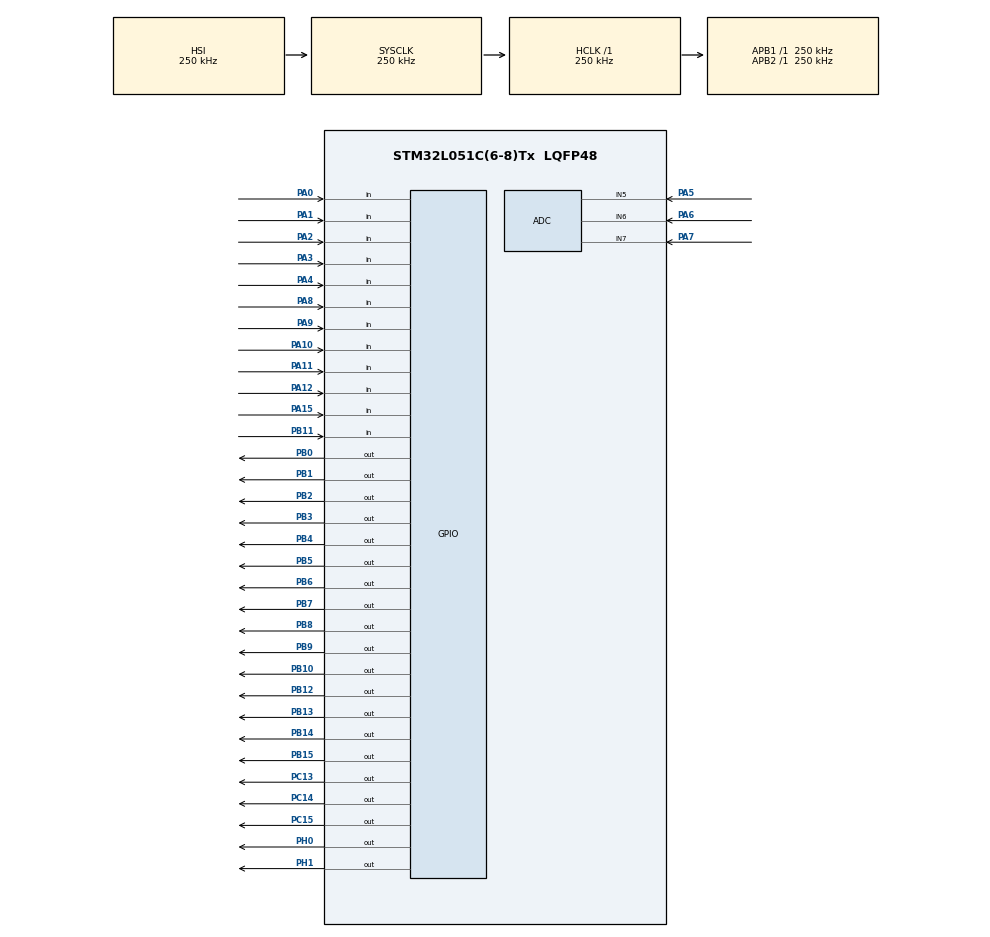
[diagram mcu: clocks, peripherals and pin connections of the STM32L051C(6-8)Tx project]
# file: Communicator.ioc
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Mcu.Family=STM32L0
Mcu.Name=STM32L051C(6-8)Tx
Mcu.Package=LQFP48
PA0.Signal=GPIO_Input
PA1.Signal=GPIO_Input
PA10.Signal=GPIO_Input
PA11.Signal=GPIO_Input
PA12.Signal=GPIO_Input
PA13.Mode=Serial_Wire
PA13.Signal=SYS_SWDIO
PA14.Mode=Serial_Wire
PA14.Signal=SYS_SWCLK
PA15.Signal=GPIO_Input
PA2.Signal=GPIO_Input
PA3.Signal=GPIO_Input
PA4.Signal=GPIO_Input
PA5.Mode=IN5
PA5.Signal=ADC_IN5
PA6.Mode=IN6
PA6.Signal=ADC_IN6
PA7.Mode=IN7
PA7.Signal=ADC_IN7
PA8.Signal=GPIO_Input
PA9.Signal=GPIO_Input
PB0.Signal=GPIO_Output
PB1.Signal=GPIO_Output
PB10.Signal=GPIO_Output
PB11.Signal=GPIO_Input
PB12.Signal=GPIO_Output
PB13.Signal=GPIO_Output
PB14.Signal=GPIO_Output
PB15.Signal=GPIO_Output
PB2.Signal=GPIO_Output
PB3.Signal=GPIO_Output
PB4.Signal=GPIO_Output
PB5.Signal=GPIO_Output
PB6.Signal=GPIO_Output
PB7.Signal=GPIO_Output
PB8.Signal=GPIO_Output
PB9.Signal=GPIO_Output
PC13.Signal=GPIO_Output
PC14-OSC32_IN.Signal=GPIO_Output
PC15-OSC32_OUT.Signal=GPIO_Output
PH0-OSC_IN.Signal=GPIO_Output
PH1-OSC_OUT.Signal=GPIO_Output
ProjectManager.HeapSize=0x200
ProjectManager.StackSize=0x400
ProjectManager.TargetToolchain=MDK-ARM V5
RCC.ADCFreq_Value=250000
RCC.AHBFreq_Value=250000
RCC.APB1Freq_Value=250000
RCC.APB1TimFreq_Value=250000
RCC.APB2Freq_Value=250000
RCC.APB2TimFreq_Value=250000
RCC.HCLKFreq_Value=250000
RCC.HSE_VALUE=8000000
RCC.HSI16_VALUE=1000000
RCC.HSIRCDiv=4
RCC.HSI_VALUE=250000
RCC.LSE_VALUE=32768
RCC.MSI_VALUE=2097000
RCC.PLLDIV=RCC_PLLDIV_3
RCC.SYSCLKFreq_VALUE=250000
RCC.SYSCLKSource=RCC_SYSCLKSOURCE_HSI
RCC.VCOOutputFreq_Value=750000
VP_TIM6_VS_ClockSourceINT.Mode=Enable_Timer
board=Communicator

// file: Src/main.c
/**
  ******************************************************************************
  * File Name          : main.c
  * Description        : Main program body
  ******************************************************************************
  *
  * COPYRIGHT(c) 2016 STMicroelectronics
  *
  * Redistribution and use in source and binary forms, with or without modification,
  * are permitted provided that the following conditions are met:
  *   1. Redistributions of source code must retain the above copyright notice,
  *      this list of conditions and the following disclaimer.
  *   2. Redistributions in binary form must reproduce the above copyright notice,
  *      this list of conditions and the following disclaimer in the documentation
  *      and/or other materials provided with the distribution.
  *   3. Neither the name of STMicroelectronics nor the names of its contributors
  *      may be used to endorse or promote products derived from this software
  *      without specific prior written permission.
  *
  * THIS SOFTWARE IS PROVIDED BY THE COPYRIGHT HOLDERS AND CONTRIBUTORS "AS IS"
  * AND ANY EXPRESS OR IMPLIED WARRANTIES, INCLUDING, BUT NOT LIMITED TO, THE
  * IMPLIED WARRANTIES OF MERCHANTABILITY AND FITNESS FOR A PARTICULAR PURPOSE ARE
  * DISCLAIMED. IN NO EVENT SHALL THE COPYRIGHT HOLDER OR CONTRIBUTORS BE LIABLE
  * FOR ANY DIRECT, INDIRECT, INCIDENTAL, SPECIAL, EXEMPLARY, OR CONSEQUENTIAL
  * DAMAGES (INCLUDING, BUT NOT LIMITED TO, PROCUREMENT OF SUBSTITUTE GOODS OR
  * SERVICES; LOSS OF USE, DATA, OR PROFITS; OR BUSINESS INTERRUPTION) HOWEVER
  * CAUSED AND ON ANY THEORY OF LIABILITY, WHETHER IN CONTRACT, STRICT LIABILITY,
  * OR TORT (INCLUDING NEGLIGENCE OR OTHERWISE) ARISING IN ANY WAY OUT OF THE USE
  * OF THIS SOFTWARE, EVEN IF ADVISED OF THE POSSIBILITY OF SUCH DAMAGE.
  *
  ******************************************************************************
  */
#include "stm32l0xx_hal.h"

/* USER CODE BEGIN Includes */
 void ConfigureLPTIMxInCounterMode(void);
 void ConfigureLowPowerMode(void);
/* USER CODE END Includes */

ADC_HandleTypeDef hadc;

TIM_HandleTypeDef htim6;

/* USER CODE BEGIN PV */
/* Private variables ---------------------------------------------------------*/

/* USER CODE END PV */

void SystemClock_Config(void);
void Error_Handler(void);
static void MX_GPIO_Init(void);
static void MX_ADC_Init(void);
static void MX_TIM6_Init(void);

/* USER CODE BEGIN PFP */
/* Private function prototypes -----------------------------------------------*/

/* USER CODE END PFP */

int main(void)
{

  /* MCU Configuration----------------------------------------------------------*/

  /* Reset of all peripherals, Initializes the Flash interface and the Systick. */
  HAL_Init();

  /* Configure the system clock */
  SystemClock_Config();

  /* Initialize all configured peripherals */
  MX_GPIO_Init();
  MX_ADC_Init();
  MX_TIM6_Init();

  /* USER CODE BEGIN 2 */
  SysTick->CTRL = 0; /* Disable SysTick */
//  error = 0;
  ConfigureLPTIMxInCounterMode();
  ConfigureLowPowerMode();
  __WFI();
  LPTIM1->ARR = 9; /* Reload ARR to get an interrupt each 10 pulses */

  /* USER CODE END 2 */

  /* Infinite loop */
  /* USER CODE BEGIN WHILE */
  while (1) /* Infinite loop */
  {
  /* USER CODE END WHILE */

  /* USER CODE BEGIN 3 */
      __WFI();
  }

  /* USER CODE END 3 */

}

/** System Clock Configuration
*/
void SystemClock_Config(void)
{

  RCC_OscInitTypeDef RCC_OscInitStruct;
  RCC_ClkInitTypeDef RCC_ClkInitStruct;

  __HAL_RCC_PWR_CLK_ENABLE();

  __HAL_PWR_VOLTAGESCALING_CONFIG(PWR_REGULATOR_VOLTAGE_SCALE1);

  RCC_OscInitStruct.OscillatorType = RCC_OSCILLATORTYPE_HSI;
  RCC_OscInitStruct.HSIState = RCC_HSI_DIV4;
  RCC_OscInitStruct.HSICalibrationValue = 16;
  RCC_OscInitStruct.PLL.PLLState = RCC_PLL_NONE;
  if (HAL_RCC_OscConfig(&RCC_OscInitStruct) != HAL_OK)
  {
    Error_Handler();
  }

  RCC_ClkInitStruct.ClockType = RCC_CLOCKTYPE_HCLK|RCC_CLOCKTYPE_SYSCLK
                              |RCC_CLOCKTYPE_PCLK1|RCC_CLOCKTYPE_PCLK2;
  RCC_ClkInitStruct.SYSCLKSource = RCC_SYSCLKSOURCE_HSI;
  RCC_ClkInitStruct.AHBCLKDivider = RCC_SYSCLK_DIV1;
  RCC_ClkInitStruct.APB1CLKDivider = RCC_HCLK_DIV1;
  RCC_ClkInitStruct.APB2CLKDivider = RCC_HCLK_DIV1;
  if (HAL_RCC_ClockConfig(&RCC_ClkInitStruct, FLASH_LATENCY_0) != HAL_OK)
  {
    Error_Handler();
  }

  HAL_SYSTICK_Config(HAL_RCC_GetHCLKFreq()/1000);

  HAL_SYSTICK_CLKSourceConfig(SYSTICK_CLKSOURCE_HCLK);

  /* SysTick_IRQn interrupt configuration */
  HAL_NVIC_SetPriority(SysTick_IRQn, 0, 0);
}

/* ADC init function */
static void MX_ADC_Init(void)
{

  ADC_ChannelConfTypeDef sConfig;

    /**Configure the global features of the ADC (Clock, Resolution, Data Alignment and number of conversion)
    */
  hadc.Instance = ADC1;
  hadc.Init.OversamplingMode = DISABLE;
  hadc.Init.ClockPrescaler = ADC_CLOCK_SYNC_PCLK_DIV1;
  hadc.Init.Resolution = ADC_RESOLUTION_12B;
  hadc.Init.SamplingTime = ADC_SAMPLETIME_1CYCLE_5;
  hadc.Init.ScanConvMode = ADC_SCAN_DIRECTION_FORWARD;
  hadc.Init.DataAlign = ADC_DATAALIGN_RIGHT;
  hadc.Init.ContinuousConvMode = DISABLE;
  hadc.Init.DiscontinuousConvMode = DISABLE;
  hadc.Init.ExternalTrigConvEdge = ADC_EXTERNALTRIGCONVEDGE_NONE;
  hadc.Init.DMAContinuousRequests = DISABLE;
  hadc.Init.EOCSelection = ADC_EOC_SINGLE_CONV;
  hadc.Init.Overrun = ADC_OVR_DATA_PRESERVED;
  hadc.Init.LowPowerAutoWait = DISABLE;
  hadc.Init.LowPowerFrequencyMode = DISABLE;
  hadc.Init.LowPowerAutoPowerOff = DISABLE;
  if (HAL_ADC_Init(&hadc) != HAL_OK)
  {
    Error_Handler();
  }

    /**Configure for the selected ADC regular channel to be converted.
    */
  sConfig.Channel = ADC_CHANNEL_5;
  sConfig.Rank = ADC_RANK_CHANNEL_NUMBER;
  if (HAL_ADC_ConfigChannel(&hadc, &sConfig) != HAL_OK)
  {
    Error_Handler();
  }

    /**Configure for the selected ADC regular channel to be converted.
    */
  sConfig.Channel = ADC_CHANNEL_6;
  if (HAL_ADC_ConfigChannel(&hadc, &sConfig) != HAL_OK)
  {
    Error_Handler();
  }

    /**Configure for the selected ADC regular channel to be converted.
    */
  sConfig.Channel = ADC_CHANNEL_7;
  if (HAL_ADC_ConfigChannel(&hadc, &sConfig) != HAL_OK)
  {
    Error_Handler();
  }

}

/* TIM6 init function */
static void MX_TIM6_Init(void)
{

  TIM_MasterConfigTypeDef sMasterConfig;

  htim6.Instance = TIM6;
  htim6.Init.Prescaler = 0;
  htim6.Init.CounterMode = TIM_COUNTERMODE_UP;
  htim6.Init.Period = 0;
  if (HAL_TIM_Base_Init(&htim6) != HAL_OK)
  {
    Error_Handler();
  }

  sMasterConfig.MasterOutputTrigger = TIM_TRGO_RESET;
  sMasterConfig.MasterSlaveMode = TIM_MASTERSLAVEMODE_DISABLE;
  if (HAL_TIMEx_MasterConfigSynchronization(&htim6, &sMasterConfig) != HAL_OK)
  {
    Error_Handler();
  }

}

/** Configure pins as
        * Analog
        * Input
        * Output
        * EVENT_OUT
        * EXTI
*/
static void MX_GPIO_Init(void)
{

  GPIO_InitTypeDef GPIO_InitStruct;

  /* GPIO Ports Clock Enable */
  __HAL_RCC_GPIOC_CLK_ENABLE();
  __HAL_RCC_GPIOH_CLK_ENABLE();
  __HAL_RCC_GPIOA_CLK_ENABLE();
  __HAL_RCC_GPIOB_CLK_ENABLE();

  /*Configure GPIO pin Output Level */
  HAL_GPIO_WritePin(GPIOC, GPIO_PIN_13|GPIO_PIN_14|GPIO_PIN_15, GPIO_PIN_RESET);

  /*Configure GPIO pin Output Level */
  HAL_GPIO_WritePin(GPIOH, GPIO_PIN_0|GPIO_PIN_1, GPIO_PIN_RESET);

  /*Configure GPIO pin Output Level */
  HAL_GPIO_WritePin(GPIOB, GPIO_PIN_0|GPIO_PIN_1|GPIO_PIN_2|GPIO_PIN_10
                          |GPIO_PIN_12|GPIO_PIN_13|GPIO_PIN_14|GPIO_PIN_15
                          |GPIO_PIN_3|GPIO_PIN_4|GPIO_PIN_5|GPIO_PIN_6
                          |GPIO_PIN_7|GPIO_PIN_8|GPIO_PIN_9, GPIO_PIN_RESET);

  /*Configure GPIO pins : PC13 PC14 PC15 */
  GPIO_InitStruct.Pin = GPIO_PIN_13|GPIO_PIN_14|GPIO_PIN_15;
  GPIO_InitStruct.Mode = GPIO_MODE_OUTPUT_PP;
  GPIO_InitStruct.Pull = GPIO_NOPULL;
  GPIO_InitStruct.Speed = GPIO_SPEED_FREQ_LOW;
  HAL_GPIO_Init(GPIOC, &GPIO_InitStruct);

  /*Configure GPIO pins : PH0 PH1 */
  GPIO_InitStruct.Pin = GPIO_PIN_0|GPIO_PIN_1;
  GPIO_InitStruct.Mode = GPIO_MODE_OUTPUT_PP;
  GPIO_InitStruct.Pull = GPIO_NOPULL;
  GPIO_InitStruct.Speed = GPIO_SPEED_FREQ_LOW;
  HAL_GPIO_Init(GPIOH, &GPIO_InitStruct);

  /*Configure GPIO pins : PA0 PA1 PA2 PA3
                           PA4 PA8 PA9 PA10
                           PA11 PA12 PA15 */
  GPIO_InitStruct.Pin = GPIO_PIN_0|GPIO_PIN_1|GPIO_PIN_2|GPIO_PIN_3
                          |GPIO_PIN_4|GPIO_PIN_8|GPIO_PIN_9|GPIO_PIN_10
                          |GPIO_PIN_11|GPIO_PIN_12|GPIO_PIN_15;
  GPIO_InitStruct.Mode = GPIO_MODE_INPUT;
  GPIO_InitStruct.Pull = GPIO_NOPULL;
  HAL_GPIO_Init(GPIOA, &GPIO_InitStruct);

  /*Configure GPIO pins : PB0 PB1 PB2 PB10
                           PB12 PB13 PB14 PB15
                           PB3 PB4 PB5 PB6
                           PB7 PB8 PB9 */
  GPIO_InitStruct.Pin = GPIO_PIN_0|GPIO_PIN_1|GPIO_PIN_2|GPIO_PIN_10
                          |GPIO_PIN_12|GPIO_PIN_13|GPIO_PIN_14|GPIO_PIN_15
                          |GPIO_PIN_3|GPIO_PIN_4|GPIO_PIN_5|GPIO_PIN_6
                          |GPIO_PIN_7|GPIO_PIN_8|GPIO_PIN_9;
  GPIO_InitStruct.Mode = GPIO_MODE_OUTPUT_PP;
  GPIO_InitStruct.Pull = GPIO_NOPULL;
  GPIO_InitStruct.Speed = GPIO_SPEED_FREQ_LOW;
  HAL_GPIO_Init(GPIOB, &GPIO_InitStruct);

  /*Configure GPIO pin : PB11 */
  GPIO_InitStruct.Pin = GPIO_PIN_11;
  GPIO_InitStruct.Mode = GPIO_MODE_INPUT;
  GPIO_InitStruct.Pull = GPIO_NOPULL;
  HAL_GPIO_Init(GPIOB, &GPIO_InitStruct);

}

/* USER CODE BEGIN 4 */
  * Brief   This function configures the Low power mode in order to
  *         enter in stop mode with voltage regulator in low power mode
  *         while wfi() instruction is executed.
  * Param   None
  * Retval  None
  */
__INLINE void ConfigureLowPowerMode(void)
{
  /* (1) Set SLEEPDEEP bit of Cortex System Control Register */
  /* (2) Clear PDDS bit and set LPDS bit in PWR_CR
         clear WUF in PWR_CSR by setting CWUF in PWR_CR */
  /* (3) Select HSI/4 as clock while exiting stop mode */
  SCB->SCR |= SCB_SCR_SLEEPDEEP_Msk; /* (1) */
  PWR->CR = (PWR->CR & (uint32_t)(~(PWR_CR_PDDS)))
          | PWR_CR_LPSDSR | PWR_CR_CWUF; /* (2) */
  RCC->CFGR |= RCC_CFGR_STOPWUCK; /* (3) */
}

/**
  * Brief   This function configures the LPTIMx in Counter mode to count once the
  *         a rising edge occurs on TI2. The timer counter is enabled by HW.
  *         To use another timer, channel or GPIO, the RCC and GPIO configuration
  *         must be adapted according to the datasheet.
  * Param   None
  * Retval  None
  */
__INLINE void ConfigureLPTIMxInCounterMode(void)
{
  /* (1) Enable the peripheral clock of LPTimer x */
  /* (2) Enable the peripheral clock of GPIOB (already done) */
  /* (3) Select Alternate function mode (10) on GPIOB pin 5 */
  /* (4) Select LPTIM1_CH1 on PB5 by enabling AF2 for pin 5 in GPIOB AFRL register */

  RCC->APB1ENR |= RCC_APB1ENR_LPTIM1EN; /* (1) */
  //RCC->IOPENR |= RCC_IOPENR_GPIOBEN; /* (2) */
  GPIOB->MODER = (GPIOB->MODER & ~(GPIO_MODER_MODE5)) \
               | (GPIO_MODER_MODE5_1); /* (3) */
  GPIOB->AFR[0] |= 0x2  << (5 * 4); /* (4) */

  /* (1) Configure LPTimer in Counter on External Input1.*/
  /* (2) Enable interrupt on Autoreload match */
  /* (3) Enable LPTimer  */
  /* (4) Set Autoreload to 4 in order to get an interrupt after 10 pulses
         because the 5 first pulses don't increment the counter */
  LPTIM1->CFGR |= LPTIM_CFGR_COUNTMODE | LPTIM_CFGR_CKSEL; /* (1)*/
  LPTIM1->IER |= LPTIM_IER_ARRMIE; /* (2) */
  LPTIM1->CR |= LPTIM_CR_ENABLE; /* (3) */
  LPTIM1->ARR = 4; /* (4) */
  LPTIM1->CR |= LPTIM_CR_CNTSTRT; /* start the counter in continuous */

  /* Configure EXTI and NVIC for LPTIM1 */
  /* (1) Configure extended interrupt for LPTIM1 */
  /* (2) Enable Interrupt on LPTIM1 */
  /* (3) Set priority for LPTIM1 */
  EXTI->IMR |= EXTI_IMR_IM29; /* (1) */
  NVIC_EnableIRQ(LPTIM1_IRQn); /* (2) */
  NVIC_SetPriority(LPTIM1_IRQn,3); /* (3) */
}

/* USER CODE END 4 */

void Error_Handler(void)
{
  while(1)
  {
  }
}

/************************ (C) COPYRIGHT STMicroelectronics *****END OF FILE****/
